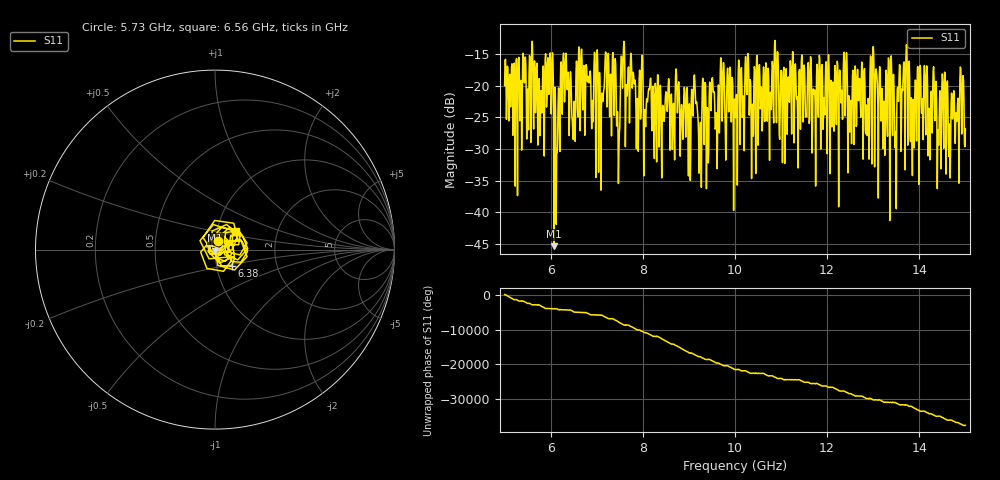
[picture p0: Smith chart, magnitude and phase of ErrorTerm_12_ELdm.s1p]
!  1-Port S-parameters saved by WinCal
! VAR NAME=2-Port SOLT labuser 7
! VAR Error Term Name=ELdm phys rcv port 1 phys src port 2
# Hz S RI R 50
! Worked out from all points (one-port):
!   1001 points, 5 GHz to 15 GHz, reference 50 ohm
!   lowest |S11| = -45.4 dB at 6.07 GHz (marker M1), VSWR 1.01, Z = 50.1 - j0.52 ohm
!   |S11| at or under -10 dB: start of sweep to end of sweep
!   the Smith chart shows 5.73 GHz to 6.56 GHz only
!   S11 on the Smith chart (normalised r, x): 5.73 GHz: 1.03, +0.10; 6.38 GHz: 1.18, -0.21; 6.56 GHz: 1.23, +0.27
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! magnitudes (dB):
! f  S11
! 5 GHz  -19.9
! 5.73 GHz  -25.7
! 6 GHz  -17.1
! 6.07 GHz  -45.4
! 6.12 GHz  -41.9
! 6.25 GHz  -24.5
! 6.38 GHz  -17.8
! 6.56 GHz  -16.1
! 7.09 GHz  -36.5
! 7.21 GHz  -17.5
! 7.5 GHz  -26.6
! 7.56 GHz  -20.4
! 8.06 GHz  -26.5
! 8.75 GHz  -24.3
! 9.15 GHz  -22.8
! 9.23 GHz  -32.8
! 9.72 GHz  -25.6
! 10 GHz  -23.0
! 10.26 GHz  -21.4
! 10.4 GHz  -27.6
! 11.25 GHz  -14.6
! 12.39 GHz  -24.8
! 12.5 GHz  -24.6
! 13.04 GHz  -22.8
! 13.46 GHz  -25.1
! 13.75 GHz  -29.4
! 13.85 GHz  -34.2
! 15 GHz  -26.8
